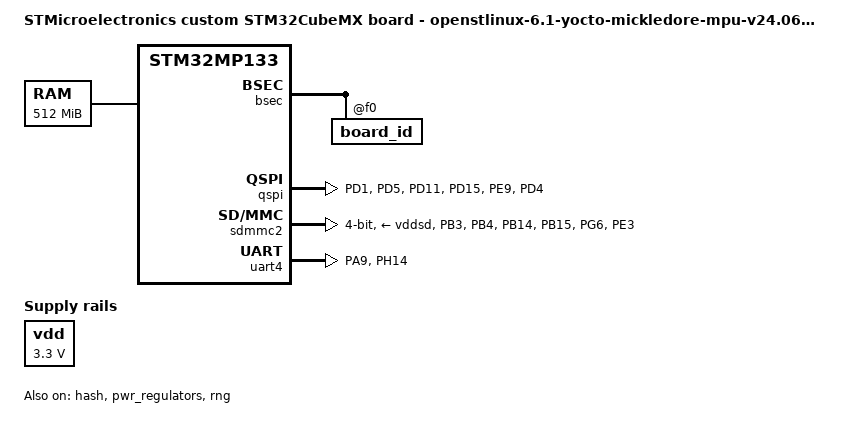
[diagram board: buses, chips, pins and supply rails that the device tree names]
// SPDX-License-Identifier: (GPL-2.0-or-later OR BSD-3-Clause)
/*
 * Copyright (C) 2025, STMicroelectronics - All Rights Reserved
 * Author: STM32CubeMX code generation for STMicroelectronics.
 */

/* For more information on Device Tree configuration, please refer to
 * https://wiki.st.com/stm32mpu/wiki/Category:Device_tree_configuration
 */

/dts-v1/;

#include <dt-bindings/pinctrl/stm32-pinfunc.h>
#include <dt-bindings/clock/stm32mp13-clksrc.h>
#include "stm32mp13-mx.dtsi"

#include "stm32mp133.dtsi"
#include "stm32mp13-ddr.dtsi"

/* USER CODE BEGIN includes */
#include "stm32mp13-pinctrl.dtsi"
#include "stm32mp13xf.dtsi"

/* USER CODE END includes */

/ {
	model = "STMicroelectronics custom STM32CubeMX board - openstlinux-6.1-yocto-mickledore-mpu-v24.06.26";
	compatible = "st,stm32mp133d-thingscore-1-mx", "st,stm32mp133";

	memory@c0000000 {
		device_type = "memory";
		reg = <0xc0000000 0x20000000>;

		/* USER CODE BEGIN memory */

		/* USER CODE END memory */
	};

	/* USER CODE BEGIN root */
	aliases {
		serial0 = &uart4;
	};
	
	chosen {
		stdout-path = "serial0:115200n8";
	};
	
	v3v3_ao:v3v3_ao{
		regulator-name = "v3v3_ao";
		regulator-min-microvolt = <3300000>;
		regulator-max-microvolt = <3300000>;
		regulator-always-on;
	};
	
	vdd: vdd {
		compatible = "regulator-fixed";
	    regulator-name = "vdd";
	    regulator-min-microvolt = <3300000>;
	    regulator-max-microvolt = <3300000>;
		regulator-always-on;
		regulator-over-current-protection;
	};
	
    vddsd: vddsd {
        regulator-name = "vddsd";
        regulator-min-microvolt = <3300000>;
        regulator-max-microvolt = <3300000>;
        regulator-boot-on;
    };
    
    vddcpu: vddcpu {        
        regulator-name = "vddcpu";
        regulator-min-microvolt = <1250000>;
        regulator-max-microvolt = <1250000>;
        regulator-always-on;
        regulator-over-current-protection;
    };
    
    vdd_core: vddcore {          
          regulator-name = "vdd_core";
          regulator-min-microvolt = <1250000>;
          regulator-max-microvolt = <1250000>;
          regulator-always-on;
      };
    vdd_ddr: vdd_ddr {       
        regulator-name = "vdd_ddr";
        regulator-min-microvolt = <1350000>;
        regulator-max-microvolt = <1350000>;
        regulator-over-current-protection;
        regulator-always-on;
    };
    vref_ddr: vref_ddr {   
         regulator-name = "vref_ddr";
         regulator-always-on;
     };

    vdd_usb: vdd_usb {    
		 regulator-name = "vdd_usb";
		 regulator-min-microvolt = <3300000>;
		 regulator-max-microvolt = <3300000>;
		 regulator-always-on;
	 };

    
	/* USER CODE END root */

	clocks {
		/* USER CODE BEGIN clocks */
		/* USER CODE END clocks */

		clk_hsi: clk-hsi {
			clock-frequency = <64000000>;

			/* USER CODE BEGIN clk_hsi */
			/* USER CODE END clk_hsi */
		};
		clk_lse: clk-lse {
			clock-frequency = <32768>;
			st,drive = < LSEDRV_MEDIUM_HIGH >;

			/* USER CODE BEGIN clk_lse */
			/* USER CODE END clk_lse */
		};
		clk_hse: clk-hse {
			clock-frequency = <24000000>;

			/* USER CODE BEGIN clk_hse */
			/* USER CODE END clk_hse */
		};
		clk_i2sin: clk-i2sin {
			status = "disabled";

			/* USER CODE BEGIN clk_i2sin */
			/* USER CODE END clk_i2sin */
		};
	};

}; /*root*/

&pinctrl {
	quadspi_pins_mx: quadspi_mx-0 {
		pins1 {
			pinmux = <STM32_PINMUX('D', 1, AF9)>, /* QUADSPI_BK1_NCS */
					 <STM32_PINMUX('D', 5, AF9)>, /* QUADSPI_BK1_IO0 */
					 <STM32_PINMUX('D', 11, AF9)>, /* QUADSPI_BK1_IO2 */
					 <STM32_PINMUX('D', 15, AF9)>, /* QUADSPI_BK1_IO3 */
					 <STM32_PINMUX('E', 9, AF9)>; /* QUADSPI_BK1_IO1 */
			bias-disable;
			drive-push-pull;
			slew-rate = <1>;
		};
		pins2 {
			pinmux = <STM32_PINMUX('D', 4, AF9)>; /* QUADSPI_CLK */
			bias-disable;
			drive-push-pull;
			slew-rate = <2>;
		};
	};

	sdmmc2_pins_mx: sdmmc2_mx-0 {
		pins1 {
			pinmux = <STM32_PINMUX('B', 3, AF10)>, /* SDMMC2_D2 */
					 <STM32_PINMUX('B', 4, AF10)>, /* SDMMC2_D3 */
					 <STM32_PINMUX('B', 14, AF10)>, /* SDMMC2_D0 */
					 <STM32_PINMUX('B', 15, AF10)>, /* SDMMC2_D1 */
					 <STM32_PINMUX('G', 6, AF10)>; /* SDMMC2_CMD */
			bias-disable;
			drive-push-pull;
			slew-rate = <1>;
		};
		pins2 {
			pinmux = <STM32_PINMUX('E', 3, AF10)>; /* SDMMC2_CK */
			bias-disable;
			drive-push-pull;
			slew-rate = <3>;
		};
	};

	uart4_pins_mx: uart4_mx-0 {
		pins1 {
			pinmux = <STM32_PINMUX('A', 9, AF8)>; /* UART4_TX */
			bias-disable;
			drive-push-pull;
			slew-rate = <0>;
		};
		pins2 {
			pinmux = <STM32_PINMUX('H', 14, AF8)>; /* UART4_RX */
			bias-disable;
		};
	};

	/* USER CODE BEGIN pinctrl */
	/* USER CODE END pinctrl */
};

&bsec{
	status = "okay";

	/* USER CODE BEGIN bsec */
	board_id:board_id@f0{
		reg = <0xf0 0x4>;
		st,non-secure-otp;
	};
	/* USER CODE END bsec */
};

&hash{
	status = "okay";

	/* USER CODE BEGIN hash */
	/* USER CODE END hash */
};

&pwr_regulators{
	status = "okay";

	/* USER CODE BEGIN pwr_regulators */
	vdd-supply = <&vdd>;
	vdd_3v3_usbfs-supply = <&vdd_usb>;
	/* USER CODE END pwr_regulators */
};

&qspi{
	pinctrl-names = "default";
	pinctrl-0 = <&quadspi_pins_mx>;
	status = "okay";

	/* USER CODE BEGIN qspi */
	/* USER CODE END qspi */
};

&rcc{
	status = "okay";

	/* USER CODE BEGIN rcc */
	/* USER CODE END rcc */

	st,clksrc = <
		CLK_MPU_PLL1P
		CLK_AXI_PLL2P
		CLK_MLAHBS_HSI
		CLK_CKPER_DISABLED
		CLK_QSPI_ACLK
		CLK_SDMMC2_HCLK6
		CLK_STGEN_HSI
		CLK_UART4_HSI
		CLK_RNG1_CSI
	>;
	st,clkdiv = <
		DIV(DIV_MPU, 1)
		DIV(DIV_AXI, 0)
		DIV(DIV_MLAHB, 0)
		DIV(DIV_APB1, 0)
		DIV(DIV_APB2, 0)
		DIV(DIV_APB3, 0)
		DIV(DIV_APB4, 1)
		DIV(DIV_APB5, 2)
		DIV(DIV_APB6, 0)
	>;
	st,pll_vco {
		pll1_vco_1300Mhz: pll1-vco-1300Mhz {
			src = < CLK_PLL12_HSE >;
			divmn = < 2 80 >;
			frac = < 0x800 >;
		};
		pll2_vco_800Mhz: pll2-vco-800Mhz {
			src = < CLK_PLL12_HSE >;
			divmn = < 2 49 >;
		};
		/* USER CODE BEGIN rcc_st-pll_vco */
		/* USER CODE END rcc_st-pll_vco */
	};

	pll1:st,pll@0 {
		compatible = "st,stm32mp1-pll";
		reg = <0>;

		st,pll = < &pll1_cfg1 >;

		pll1_cfg1: pll1_cfg1 {
			st,pll_vco = < &pll1_vco_1300Mhz >;
			st,pll_div_pqr = < 0 1 1 >;
		};
		/* USER CODE BEGIN pll1 */
		/* USER CODE END pll1 */
	};

	pll2:st,pll@1 {
		compatible = "st,stm32mp1-pll";
		reg = <1>;

		st,pll = < &pll2_cfg1 >;

		pll2_cfg1: pll2_cfg1 {
			st,pll_vco = < &pll2_vco_800Mhz >;
			st,pll_div_pqr = < 1 1 0 >;
		};
		/* USER CODE BEGIN pll2 */
		/* USER CODE END pll2 */
	};

};

&rng{
	status = "okay";

	/* USER CODE BEGIN rng */
	/* USER CODE END rng */
};

&sdmmc2{
	pinctrl-names = "default";
	pinctrl-0 = <&sdmmc2_pins_mx>;
	status = "okay";

	/* USER CODE BEGIN sdmmc2 */
	disable-wp;
	st,neg-edge;
	bus-width = <4>;
	vmmc-supply = <&vddsd>;
	/* USER CODE END sdmmc2 */
};

&uart4{
	pinctrl-names = "default";
	pinctrl-0 = <&uart4_pins_mx>;
	status = "okay";

	/* USER CODE BEGIN uart4 */
	/* USER CODE END uart4 */
};

/* USER CODE BEGIN addons */


&cpu0 {
	cpu-supply = <&vddcpu>;
};

&ddr {
	vref-supply = <&vref_ddr>;
};
	
/* USER CODE END addons */

